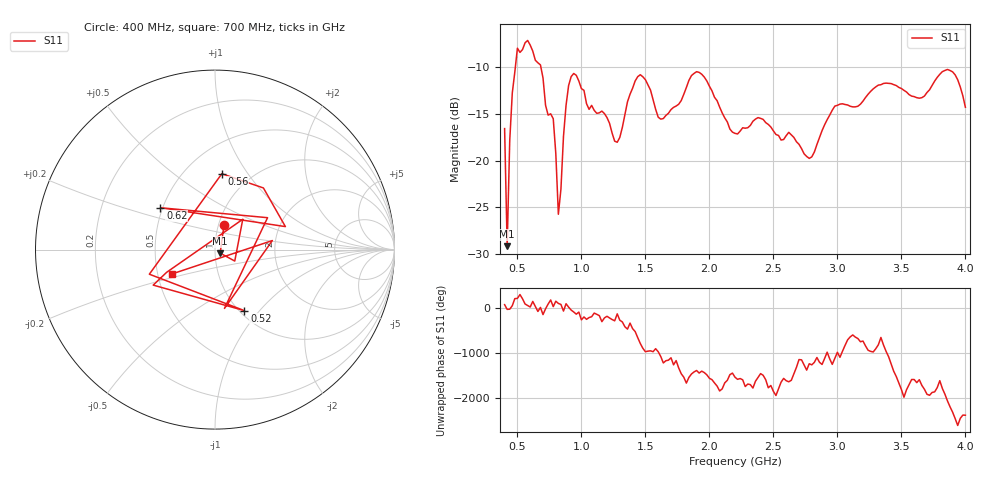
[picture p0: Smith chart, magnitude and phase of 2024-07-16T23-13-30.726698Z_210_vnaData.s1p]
!Created with skrf (http://scikit-rf.org).
# Hz S RI R 50.0
!freq ReS11 ImS11
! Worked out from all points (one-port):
!   181 points, 400 MHz to 4 GHz, reference 50 ohm
!   lowest |S11| = -29.1 dB at 420 MHz (marker M1), VSWR 1.07, Z = 52.9 - j2.08 ohm
!   |S11| at or under -10 dB: start of sweep to 484.3 MHz; 682.8 MHz to end of sweep
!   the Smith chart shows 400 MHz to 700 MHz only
!   S11 on the Smith chart (normalised r, x): 400 MHz: 1.06, +0.30; 520 MHz: 1.05, -0.83; 560 MHz: 0.74, +0.77; 620 MHz: 0.49, +0.27; 700 MHz: 0.59, -0.17
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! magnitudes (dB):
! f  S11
! 400 MHz  -16.6
! 420 MHz  -29.1
! 440 MHz  -17.9
! 460 MHz  -12.8
! 500 MHz  -8.0
! 520 MHz  -8.5
! 560 MHz  -7.4
! 620 MHz  -8.3
! 700 MHz  -11.2
! 780 MHz  -15.5
! 820 MHz  -25.7
! 860 MHz  -17.4
! 900 MHz  -12.0
! 940 MHz  -10.7
! 1.3 GHz  -17.5
! 1.46 GHz  -10.9
! 1.6 GHz  -15.4
! 1.76 GHz  -14.0
! 1.92 GHz  -10.6
! 2.2 GHz  -17.1
! 2.38 GHz  -15.4
! 2.66 GHz  -17.5
! 2.78 GHz  -19.8
! 2.98 GHz  -14.2
! 3.1 GHz  -14.2
! 3.56 GHz  -13.0
! 3.86 GHz  -10.3
! 4 GHz  -14.3
